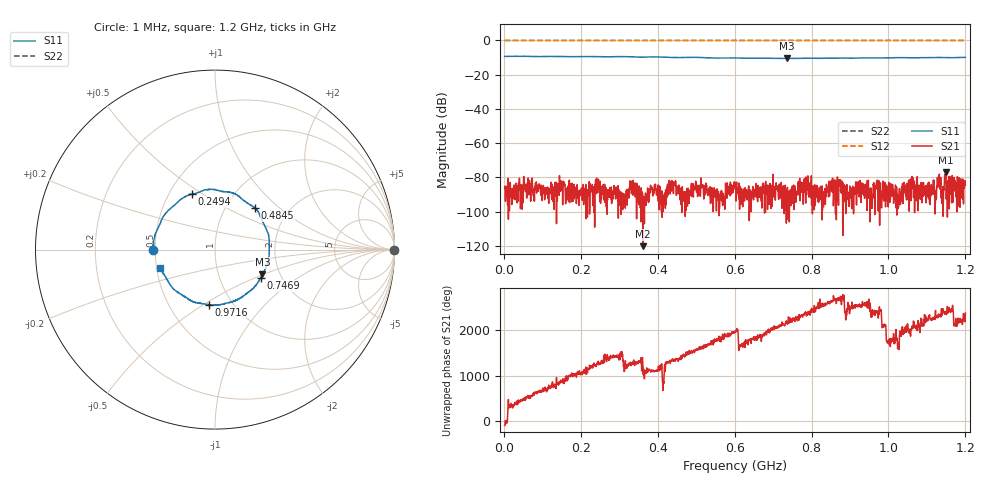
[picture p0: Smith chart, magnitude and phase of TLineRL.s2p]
! Anritsu VNA Master:  Model: MS2025B
! SN:  1642059
! /bd0/PROE/TP1/P2/TLineRL.s2p
! Existing Calibration Information:
! TYPE:  Current Settings,  Active Cal Settings
! TIME:  04/23/2024 09:14:03 AM,  03/12/2018 11:45:53 AM
! INTERNAL TEMP:  43.5 C,  40.8 C
! # POINTS:  1715,  4001
! START FREQ:  1.000 MHz,  1.000 MHz
! STOP FREQ:  1.200 371 500 GHz,  2.800 GHz
! SOURCE POWER:  Default,  Default
! IFBW:  1 kHz,  1 kHz
! AVG FACTOR:  1 ,  1
! REF PLANE 1:  0 mm,  0 mm
! REF PLANE 2:  0 mm,  0 mm
! CAL TYPE:  1P2P S11,S21,  1P2P S11,S21
! CAL METHOD:  SOLT,  SOLT
! CAL LINE TYPE:  Coax,  Coax
! DUT PORT 1:  ,
! DUT PORT 2:  N-Conn(M),  N-Conn(M)
! CAL STATUS:  OK: Accuracy High,  --
# GHZ S MA R 50.0
! FREQ.GHZ  S11M  S11A  S21M  S21A  S12M  S12A  S22M  S22A
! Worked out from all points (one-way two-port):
!   1715 points, 1 MHz to 1.2 GHz, reference 50 ohm
!   highest |S21| = -76.93 dB at 1.149 GHz (marker M1); lowest = -120.1 dB at 361.4 MHz (marker M2)
!   lowest |S11| = -10.5 dB at 735 MHz (marker M3), VSWR 1.85, Z = 81.3 - j24.5 ohm
!   |S11| at or under -10 dB: 517.1 MHz to 1.095 GHz (578.2 MHz wide, 71.7 % of centre); 1.144 GHz to 1.152 GHz (8.367 MHz wide, 0.729 % of centre); 1.152 GHz to 1.176 GHz (23.39 MHz wide, 2.01 % of centre) (the widest 3 of 12)
!   |S22| runs from 0.0 to 0.0 dB; largest |S21 - S12| = 1
!   S11 on the Smith chart (normalised r, x): 1 MHz: 0.49, -0.00; 249.4 MHz: 0.65, +0.45; 484.5 MHz: 1.37, +0.70; 746.9 MHz: 1.57, -0.54; 971.6 MHz: 0.78, -0.53; 1.2 GHz: 0.52, -0.12
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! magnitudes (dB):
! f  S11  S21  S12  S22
! 1 MHz  -9.3  -86.3  0.0  0.0
! 201.1 MHz  -9.4  -86.1  0.0  0.0
! 249.4 MHz  -9.5  -82.2  0.0  0.0
! 318 MHz  -9.5  -88.6  0.0  0.0
! 361.4 MHz  -9.7  -120.1  0.0  0.0
! 401.3 MHz  -9.6  -94.0  0.0  0.0
! 447.4 MHz  -10.0  -85.8  0.0  0.0
! 484.5 MHz  -9.9  -90.7  0.0  0.0
! 542.6 MHz  -10.2  -87.6  0.0  0.0
! 600.7 MHz  -10.2  -84.2  0.0  0.0
! 735 MHz  -10.5  -88.9  0.0  0.0
! 746.9 MHz  -10.5  -87.0  0.0  0.0
! 800.8 MHz  -10.4  -88.7  0.0  0.0
! 971.6 MHz  -10.2  -81.7  0.0  0.0
! 1.001 GHz  -10.1  -82.9  0.0  0.0
! 1.14 GHz  -10.0  -94.7  0.0  0.0
! 1.143 GHz  -10.0  -94.5  0.0  0.0
! 1.144 GHz  -10.0  -86.0  0.0  0.0
! 1.149 GHz  -10.0  -76.9  0.0  0.0
! 1.155 GHz  -10.0  -82.6  0.0  0.0
! 1.156 GHz  -10.0  -86.9  0.0  0.0
! 1.2 GHz  -9.9  -84.5  0.0  0.0
